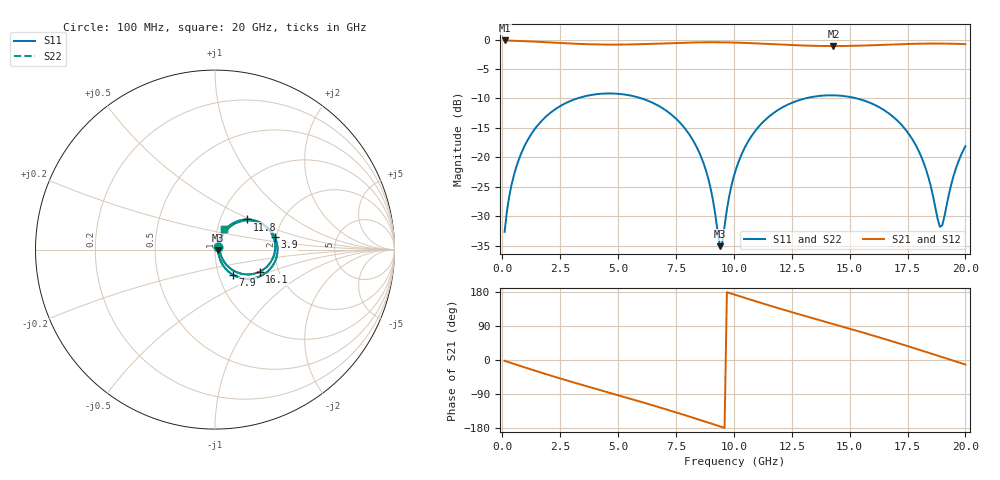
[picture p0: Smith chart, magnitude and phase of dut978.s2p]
! Touchstone file exported from HFSS 2026.1.0
!  File:  C:/ffzhzh/LocalFiles/Ansys_Project_Files/temp_train_TSV_RDL_978_1783286687_38820.aedt
!  Generated:  05:37:15 AM Jul  6, 2026
!  Design:  TSV_RDL
!  Project:  temp_train_TSV_RDL_978_1783286687_38820
! Variables:
!  h_bsmrdl = 4.73um
!  h_ox = 20um
!  h_rdl = 5um
!  h_sub = 95.57um
!  h_tmrdl = 4.35um
!  h_tsv = 95.57um
!  h_via = 3um
!  l_bsmrdl = 741.61um
!  l_sub = 6254.42um
!  l_tmrdl = 863.02um
!  m_sub = 200um
!  pitch = 46.96um
!  r_tsv = 9.5um
!  s_tmrdl = 10um
!  w_bsmrdl = 29.76um
!  w_sub = 500um
!  w_tmrdl = 29.41um
!  x_tsv_center1 = 877.725um
!  x_tsv_center2 = 1649.095um
!  x_tsv_center3 = 2541.525um
!  x_tsv_center4 = 3312.895um
!  x_tsv_center5 = 4205.325um
!  x_tsv_center6 = 4976.695um
# GHz S MA R 50.000000
! Terminal data exported
! Port[1] = TM_RDL1_1_T1
! Port[2] = TM_RDL5_1_T1
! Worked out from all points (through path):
!   200 points, 100 MHz to 20 GHz, reference 50 ohm
!   highest |S21| = -0.15 dB at 100 MHz (marker M1); lowest = -1.1 dB at 14.3 GHz (marker M2)
!   group delay of S21, straight-line fit = 51.2 ps
!   lowest |S11| = -35.1 dB at 9.4 GHz (marker M3), VSWR 1.04, Z = 51.8 - j0.349 ohm
!   |S11| at or under -10 dB: start of sweep to 3.241 GHz; 6.012 GHz to 13.09 GHz (7.077 GHz wide, 74.1 % of centre); 15.3 GHz to end of sweep
!   |S22| runs from -34.8 to -9.2 dB; largest |S21 - S12| = 1.6e-14
!   S11 on the Smith chart (normalised r, x): 100 MHz: 1.04, +0.03; 3.9 GHz: 1.96, +0.32; 7.9 GHz: 1.17, -0.34; 11.8 GHz: 1.33, +0.48; 16.1 GHz: 1.59, -0.43; 20 GHz: 1.08, +0.25
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0.1  0.02324 39.3  0.9825 -2.2  0.9825 -2.2  0.02324 39.3
! Gamma 0 0 0 0
! Port Impedance 50 0 50 0
0.5  0.07023 61.7  0.976 -10.2  0.976 -10.2  0.07023 61.7
1.1  0.1405 58.2  0.9664 -22.1  0.9664 -22.1  0.1405 58.2
2.1  0.2405 42.6  0.9442 -41.3  0.9442 -41.3  0.2405 42.6
3.5  0.3273 18.9  0.9155 -66.7  0.9155 -66.7  0.3273 18.9
3.9  0.3397 12.2  0.9104 -73.8  0.9104 -73.8  0.3397 12.2
5.4  0.3383 -12.8  0.9076 -100.0  0.9076 -100.0  0.3383 -12.7
6.8  0.2699 -36.2  0.9245 -125.1  0.9245 -125.1  0.27 -36.2
7.9  0.1744 -54.3  0.9409 -145.8  0.9409 -145.8  0.1744 -54.1
8.8  0.07667 -63.9  0.9484 -163.3  0.9484 -163.3  0.0768 -63.6
9.1  0.04307 -59.1  0.9488 -169.2  0.9488 -169.2  0.04329 -58.5
9.4  0.01756 -11.1  0.9481 -175.1  0.9481 -175.1  0.0181 -10.7
10.1  0.07998 66.1  0.942 171.2  0.942 171.2  0.08009 65.7
10.8  0.155 59.1  0.9308 157.7  0.9308 157.7  0.1551 58.9
11.8  0.2441 43.5  0.9106 138.9  0.9106 138.9  0.2442 43.3
13.4  0.3258 17.3  0.8851 110.4  0.8851 110.4  0.3258 17.2
14.3  0.3359 2.7  0.8809 94.7  0.8809 94.7  0.3359 2.6
16.1  0.2776 -26.4  0.8962 62.9  0.8962 62.9  0.2776 -26.5
16.7  0.2354 -35.9  0.9055 51.9  0.9055 51.9  0.2354 -36.0
18  0.1113 -52.7  0.9222 27.1  0.9222 27.1  0.1113 -52.8
18.9  0.02563 -2.5  0.9247 9.5  0.9247 9.5  0.02561 -2.6
20  0.1241 64.9  0.9144 -11.9  0.9144 -11.9  0.1241 64.8
